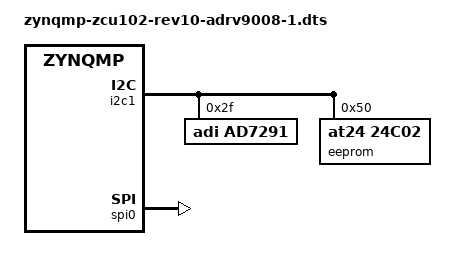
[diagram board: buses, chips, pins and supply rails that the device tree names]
// SPDX-License-Identifier: GPL-2.0
/*
 * Analog Devices ADRV9008-1
 * https://wiki.analog.com/resources/eval/user-guides/adrv9009
 * https://wiki.analog.com/resources/tools-software/linux-drivers/iio-transceiver/adrv9009
 * https://wiki.analog.com/resources/tools-software/linux-software/adrv9009_advanced_plugin
 *
 * hdl_project: <adrv9009/zcu102>
 * board_revision: <>
 *
 * Copyright (C) 2019 Analog Devices Inc.
 */
#include "zynqmp-zcu102-rev1.0.dts"
#include <dt-bindings/interrupt-controller/irq.h>
#include <dt-bindings/jesd204/adxcvr.h>

&i2c1 {
	i2c-mux@75 {
		i2c@1 { /* HPC1 */
			#address-cells = <1>;
			#size-cells = <0>;
			reg = <1>;

			ad7291@2f {
				compatible = "adi,ad7291";
				reg = <0x2f>;
			};

			eeprom@50 {
				compatible = "at24,24c02";
				reg = <0x50>;
			};
		};
	};
};

/ {
	fpga_axi: fpga-axi@0 {
		interrupt-parent = <&gic>;
		compatible = "simple-bus";
		#address-cells = <0x1>;
		#size-cells = <0x1>;
		ranges = <0 0 0 0xffffffff>;

		rx_dma: dma@9c400000 {
			compatible = "adi,axi-dmac-1.00.a";
			reg = <0x9c400000 0x10000>;
			#dma-cells = <1>;
			#clock-cells = <0>;
			interrupts = <0 109 IRQ_TYPE_LEVEL_HIGH>;
			clocks = <&zynqmp_clk 73>;

			adi,channels {
				#size-cells = <0>;
				#address-cells = <1>;

				dma-channel@0 {
					reg = <0>;
					adi,source-bus-width = <64>;
					adi,source-bus-type = <2>;
					adi,destination-bus-width = <64>;
					adi,destination-bus-type = <0>;
				};
			};
		};

		axi_adrv9009_core_rx: axi-adrv9009-rx-hpc@84a00000 {
			compatible = "adi,axi-adrv9009-rx-1.0";
			reg = <0x84a00000 0x8000>;
			dmas = <&rx_dma 0>;
			dma-names = "rx";
			spibus-connected = <&trx0_adrv9009>;
			adi,axi-decimation-core-available;
			decimation-gpios = <&gpio 139 GPIO_ACTIVE_HIGH>;
		};

		axi_adrv9009_rx_jesd: axi-jesd204-rx@84aa0000 {
			compatible = "adi,axi-jesd204-rx-1.0";
			reg = <0x84aa0000 0x1000>;

			interrupts = <0 106 IRQ_TYPE_LEVEL_HIGH>;

			clocks = <&zynqmp_clk 71>, <&axi_rx_clkgen>, <&axi_adrv9009_adxcvr_rx 0>;
			clock-names = "s_axi_aclk", "device_clk", "lane_clk";

			#clock-cells = <0>;
			clock-output-names = "jesd_rx_lane_clk";

			adi,octets-per-frame = <4>;
			adi,frames-per-multiframe = <32>;
		};

		axi_rx_clkgen: axi-clkgen@83c10000  {
			compatible = "adi,axi-clkgen-2.00.a";
			reg = <0x83c10000 0x10000>;
			#clock-cells = <0>;
			clocks = <&zynqmp_clk 71>, <&clk0_ad9528 1>;
			clock-names = "s_axi_aclk", "clkin1";
			clock-output-names = "axi_rx_clkgen";
		};

		axi_adrv9009_adxcvr_rx: axi-adxcvr-rx@84a60000 {
			#address-cells = <1>;
			#size-cells = <0>;
			compatible = "adi,axi-adxcvr-1.0";
			reg = <0x84a60000 0x1000>;

			clocks = <&clk0_ad9528 1>, <&axi_rx_clkgen 0>;
			clock-names = "conv", "div40";

			#clock-cells = <1>;
			clock-output-names = "rx_gt_clk", "rx_out_clk";

			adi,sys-clk-select = <XCVR_CPLL>;
			adi,out-clk-select = <XCVR_REFCLK>;
			adi,use-lpm-enable;
		};

		axi_sysid_0: axi-sysid-0@85000000 {
			compatible = "adi,axi-sysid-1.00.a";
			reg = <0x85000000 0x10000>;
		};
	};
};

&spi0 {
	status = "okay";
};

#define fmc_spi spi0

#include "adi-adrv9009.dtsi"

// adrv9009_dac_fifo_bypass_s 60
// ad9528_reset_b,       // 59
// ad9528_sysref_req,    // 58
// adrv9009_tx1_enable,    // 57
// adrv9009_tx2_enable,    // 56
// adrv9009_rx1_enable,    // 55
// adrv9009_rx2_enable,    // 54
// adrv9009_test,          // 53
// adrv9009_reset_b,       // 52
// adrv9009_gpint,         // 51
// adrv9009_gpio_00,       // 50
// adrv9009_gpio_01,       // 49
// adrv9009_gpio_02,       // 48
// adrv9009_gpio_03,       // 47
// adrv9009_gpio_04,       // 46
// adrv9009_gpio_05,       // 45
// adrv9009_gpio_06,       // 44
// adrv9009_gpio_07,       // 43
// adrv9009_gpio_15,       // 42
// adrv9009_gpio_08,       // 41
// adrv9009_gpio_09,       // 40
// adrv9009_gpio_10,       // 39
// adrv9009_gpio_11,       // 38
// adrv9009_gpio_12,       // 37
// adrv9009_gpio_14,       // 36
// adrv9009_gpio_13,       // 35
// adrv9009_gpio_17,       // 34
// adrv9009_gpio_16,       // 33
// adrv9009_gpio_18}));    // 32 + 78

&trx0_adrv9009 {
	compatible = "adrv9008-1";

	clocks = <&axi_adrv9009_rx_jesd>, <&clk0_ad9528 13>,
		<&clk0_ad9528 1>, <&clk0_ad9528 12>, <&clk0_ad9528 3>;
	clock-names = "jesd_rx_clk", "dev_clk", "fmc_clk", "sysref_dev_clk",
		"sysref_fmc_clk";

	reset-gpios = <&gpio 130 0>;
	test-gpios = <&gpio 131 0>;
	sysref-req-gpios = <&gpio 136 0>;
	rx2-enable-gpios = <&gpio 132 0>;
	rx1-enable-gpios = <&gpio 133 0>;
};

&clk0_ad9528 {
	reset-gpios = <&gpio 137 0>;
};
